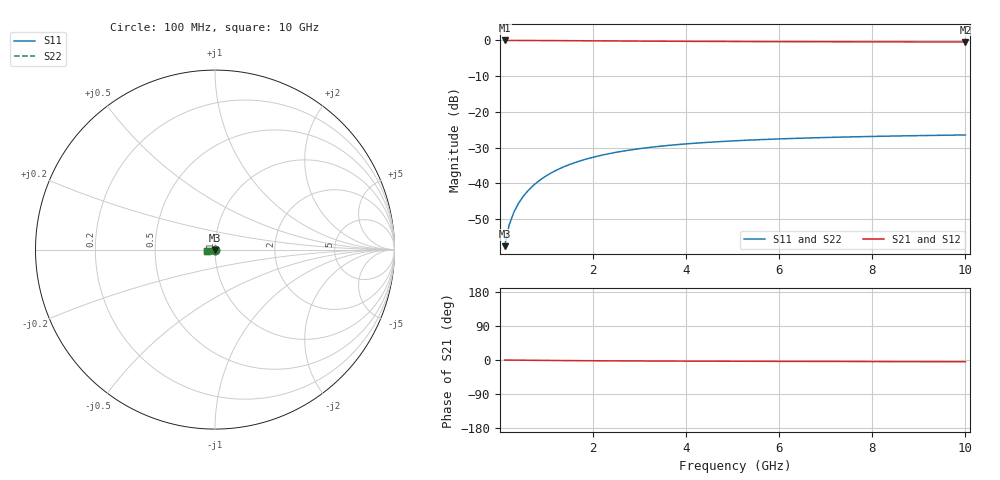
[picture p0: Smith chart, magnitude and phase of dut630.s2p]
! Touchstone file exported from HFSS 2024.1.0
!  File:  C:/UserFiles/LocalFiles/RDL_TSV_Batchsim/temp_TSV1_630_1779789904.aedt
!  Generated:  06:11:01 PM May 26, 2026
!  Design:  TSV1
!  Project:  temp_TSV1_630_1779789904
!  Setup:  Setup1
!  Solution:  Sweep
! Variables:
!  dtsv = 12.18um
!  hbump = 3um
!  htsv = 70.56um
!  lrdl = 252.1521522um
!  p = 40
!  p1 = 48.34um
!  t = 500um
!  trdl = 3um
!  wrdl = 24.89489489um
# GHz S MA R 50.000000
! Terminal data exported
! Port[1] = TSV22_T1
! Port[2] = TSV22_T2
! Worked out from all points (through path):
!   100 points, 100 MHz to 10 GHz, reference 50 ohm
!   highest |S21| = 0.00 dB at 100 MHz (marker M1); lowest = -0.4 dB at 10 GHz (marker M2)
!   lowest |S11| = -57.6 dB at 100 MHz (marker M3), VSWR 1.00, Z = 50 - j0.132 ohm
!   |S11| at or under -10 dB: start of sweep to end of sweep
!   |S22| runs from -57.6 to -26.4 dB; largest |S21 - S12| = 4.7e-15
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0.1  0.001323 -87.7  0.9999 -0.1  0.9999 -0.1  0.001323 -87.7
! Gamma 0 0 0 0
! Port Impedance 50 0 50 0
0.2  0.002643 -91.2  0.9997 -0.2  0.9997 -0.2  0.002643 -91.2
0.3  0.003962 -93.5  0.9995 -0.4  0.9995 -0.4  0.003962 -93.5
0.4  0.005276 -95.4  0.9992 -0.5  0.9992 -0.5  0.005276 -95.4
0.5  0.00658 -97.3  0.9989 -0.6  0.9989 -0.6  0.00658 -97.3
0.6  0.00787 -99.1  0.9985 -0.7  0.9985 -0.7  0.00787 -99.1
0.7  0.009142 -100.8  0.998 -0.8  0.998 -0.8  0.009142 -100.8
0.8  0.01039 -102.5  0.9974 -0.9  0.9974 -0.9  0.01039 -102.5
0.9  0.01162 -104.2  0.9968 -1.0  0.9968 -1.0  0.01162 -104.2
1.1  0.014 -107.5  0.9955 -1.2  0.9955 -1.2  0.014 -107.5
1.4  0.01735 -112.1  0.9932 -1.5  0.9932 -1.5  0.01735 -112.1
1.6  0.01944 -115.0  0.9915 -1.7  0.9915 -1.7  0.01944 -115.0
1.8  0.02139 -117.8  0.9898 -1.8  0.9898 -1.8  0.02139 -117.8
2.1  0.02408 -121.7  0.9872 -2.0  0.9872 -2.0  0.02408 -121.7
2.5  0.02725 -126.4  0.9837 -2.3  0.9837 -2.3  0.02725 -126.4
2.9  0.02999 -130.7  0.9803 -2.5  0.9803 -2.5  0.02999 -130.7
3.4  0.03288 -135.5  0.9765 -2.7  0.9765 -2.7  0.03288 -135.5
4.2  0.03653 -142.0  0.9711 -3.0  0.9711 -3.0  0.03653 -142.0
5.1  0.03959 -148.0  0.9663 -3.3  0.9663 -3.3  0.03959 -148.0
6.7  0.04333 -156.4  0.96 -3.7  0.96 -3.7  0.04333 -156.4
8.4  0.04591 -163.2  0.9556 -4.2  0.9556 -4.2  0.04591 -163.2
10  0.0476 -168.4  0.9526 -4.6  0.9526 -4.6  0.0476 -168.4
